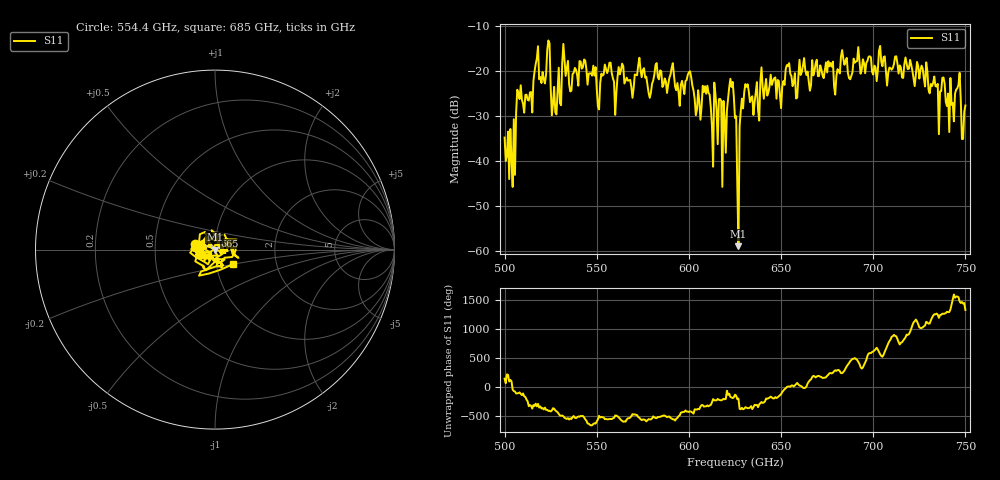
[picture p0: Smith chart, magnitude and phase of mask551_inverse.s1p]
!Created with skrf (http://scikit-rf.org).
# GHz S MA R 50.0
!freq magS11 angS11
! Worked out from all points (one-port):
!   401 points, 500 GHz to 750 GHz, reference 50 ohm
!   lowest |S11| = -59.0 dB at 626.9 GHz (marker M1), VSWR 1.00, Z = 49.9 + j0.0397 ohm
!   |S11| at or under -10 dB: start of sweep to end of sweep
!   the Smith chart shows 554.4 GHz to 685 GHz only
!   S11 on the Smith chart (normalised r, x): 554.4 GHz: 0.80, +0.05; 665 GHz: 0.99, +0.15; 685 GHz: 1.20, -0.20
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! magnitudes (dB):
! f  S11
! 500 GHz  -34.8
! 504.4 GHz  -45.8
! 507.5 GHz  -25.0
! 513.8 GHz  -24.8
! 516.9 GHz  -18.4
! 523.8 GHz  -13.2
! 526.9 GHz  -23.6
! 531.2 GHz  -18.3
! 542.5 GHz  -19.2
! 551.2 GHz  -28.6
! 554.4 GHz  -18.6
! 562.5 GHz  -20.8
! 593.8 GHz  -22.7
! 610 GHz  -23.3
! 619.4 GHz  -30.6
! 623.1 GHz  -23.6
! 625 GHz  -30.5
! 625.6 GHz  -30.1
! 626.9 GHz  -59.0
! 631.2 GHz  -23.5
! 656.2 GHz  -23.4
! 665 GHz  -22.2
! 685 GHz  -17.8
! 687.5 GHz  -21.9
! 718.8 GHz  -19.6
! 742.5 GHz  -27.6
! 745.6 GHz  -23.9
! 750 GHz  -27.7
